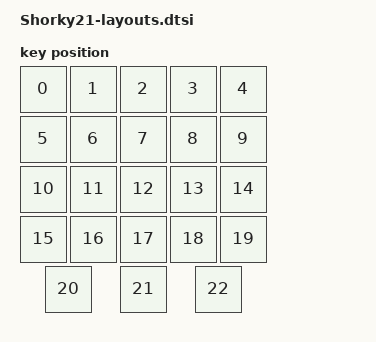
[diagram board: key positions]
/*
 * Copyright (c) 2024 The ZMK Contributors
 *
 * SPDX-License-Identifier: MIT
 */

#include <physical_layouts.dtsi>

/ {
    default_layout: default_layout {
        compatible = "zmk,physical-layout";
        display-name = "Shorky21";
        transform = <&default_transform>;
        kscan = <&kscan0>;

        keys  //                     w   h    x    y     rot    rx    ry
            = <&key_physical_attrs 100 100    0    0       0     0     0>
            , <&key_physical_attrs 100 100  100    0       0     0     0>
            , <&key_physical_attrs 100 100  200    0       0     0     0>
            , <&key_physical_attrs 100 100  300    0       0     0     0>
            , <&key_physical_attrs 100 100  400    0       0     0     0>
            , <&key_physical_attrs 100 100    0  100       0     0     0>
            , <&key_physical_attrs 100 100  100  100       0     0     0>
            , <&key_physical_attrs 100 100  200  100       0     0     0>
            , <&key_physical_attrs 100 100  300  100       0     0     0>
            , <&key_physical_attrs 100 100  400  100       0     0     0>
            , <&key_physical_attrs 100 100    0  200       0     0     0>
            , <&key_physical_attrs 100 100  100  200       0     0     0>
            , <&key_physical_attrs 100 100  200  200       0     0     0>
            , <&key_physical_attrs 100 100  300  200       0     0     0>
            , <&key_physical_attrs 100 100  400  200       0     0     0>
            , <&key_physical_attrs 100 100    0  300       0     0     0>
            , <&key_physical_attrs 100 100  100  300       0     0     0>
            , <&key_physical_attrs 100 100  200  300       0     0     0>
            , <&key_physical_attrs 100 100  300  300       0     0     0>
            , <&key_physical_attrs 100 100  400  300       0     0     0>
	    , <&key_physical_attrs 100 100   50  400       0     0     0>
            , <&key_physical_attrs 100 100  200  400       0     0     0>
            , <&key_physical_attrs 100 100  350  400       0     0     0>            
;
    };
};

/ {
    keypad_position_map {
        Shorky21_map: Shorky21 {
            physical-layout = <&default_layout>;
            positions
            = <0  1  2  3  4>
            , <5  6  7  8  9>
            , <10 11 12 13 14>
            , <15 16 17 18 19>
            , <20 21 22>
            ;
        };
    };
};

